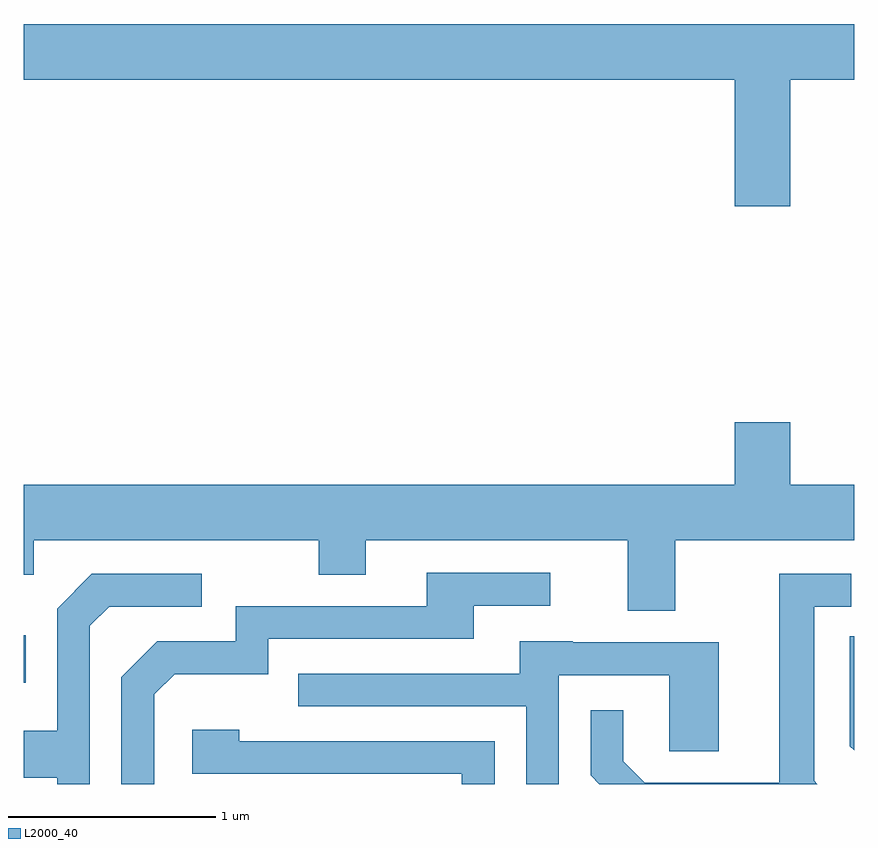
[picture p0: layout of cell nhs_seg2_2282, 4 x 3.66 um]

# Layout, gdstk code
import gdstk
lib = gdstk.Library(unit=1e-6, precision=1e-09)
def R(c, l, rs):  # rectangles x0, y0, x1, y1
    for r in rs: c.add(gdstk.rectangle(r[:2], r[2:], *l))
def P(c, l, *ps):  # polygons
    for p in ps: c.add(gdstk.Polygon(p, *l))
L2000_40 = (2000, 40)

nhs_seg2_2282 = lib.new_cell('nhs_seg2_2282')
R(nhs_seg2_2282, L2000_40, [(251.611,1054.291,251.619,1054.519)])
P(nhs_seg2_2282, L2000_40, [(255.304,1057.196),(255.611,1057.196),(255.611,1057.464),(251.611,1057.464),(251.611,1057.196),(255.036,1057.196),(255.036,1056.586),(255.304,1056.586)],
  [(251.611,1054.811),(251.659,1054.811),(251.659,1054.976),(253.031,1054.976),(253.031,1054.811),(253.259,1054.811),(253.259,1054.976),(254.521,1054.976),(254.521,1054.636),(254.749,1054.636),(254.749,1054.976),(255.611,1054.976),(255.611,1055.244),(255.304,1055.244),(255.304,1055.544),(255.036,1055.544),(255.036,1055.244),(251.611,1055.244)],
  [(252.239,1054.234),(252.337,1054.331),(252.789,1054.331),(252.789,1054.501),(253.779,1054.501),(253.779,1054.661),(254.148,1054.661),(254.148,1054.819),(253.551,1054.819),(253.551,1054.659),(252.631,1054.659),(252.631,1054.489),(252.254,1054.489),(252.081,1054.317),(252.081,1053.802),(252.239,1053.802)],
  [(255.419,1053.817),(255.419,1054.656),(255.598,1054.656),(255.598,1054.814),(255.251,1054.814),(255.251,1053.809),(254.602,1053.809),(254.499,1053.912),(254.499,1054.158),(254.341,1054.158),(254.341,1053.844),(254.383,1053.802),(255.434,1053.802)],
  [(251.929,1054.564),(252.022,1054.656),(252.468,1054.656),(252.468,1054.814),(251.939,1054.814),(251.771,1054.647),(251.771,1054.059),(251.611,1054.059),(251.611,1053.831),(251.771,1053.831),(251.771,1053.802),(251.929,1053.802)],
  [(255.611,1054.513),(255.591,1054.513),(255.591,1053.984),(255.611,1053.964)],
  [(254.189,1054.326),(254.721,1054.326),(254.721,1053.961),(254.959,1053.961),(254.959,1054.484),(254.255,1054.484),(254.255,1054.489),(254.001,1054.489),(254.001,1054.334),(252.933,1054.334),(252.933,1054.176),(254.031,1054.176),(254.031,1053.802),(254.189,1053.802)],
  [(253.879,1054.009),(252.649,1054.009),(252.649,1054.064),(252.421,1054.064),(252.421,1053.851),(253.721,1053.851),(253.721,1053.802),(253.879,1053.802)])

lib.write_gds('nhs_seg2_2282.gds')
